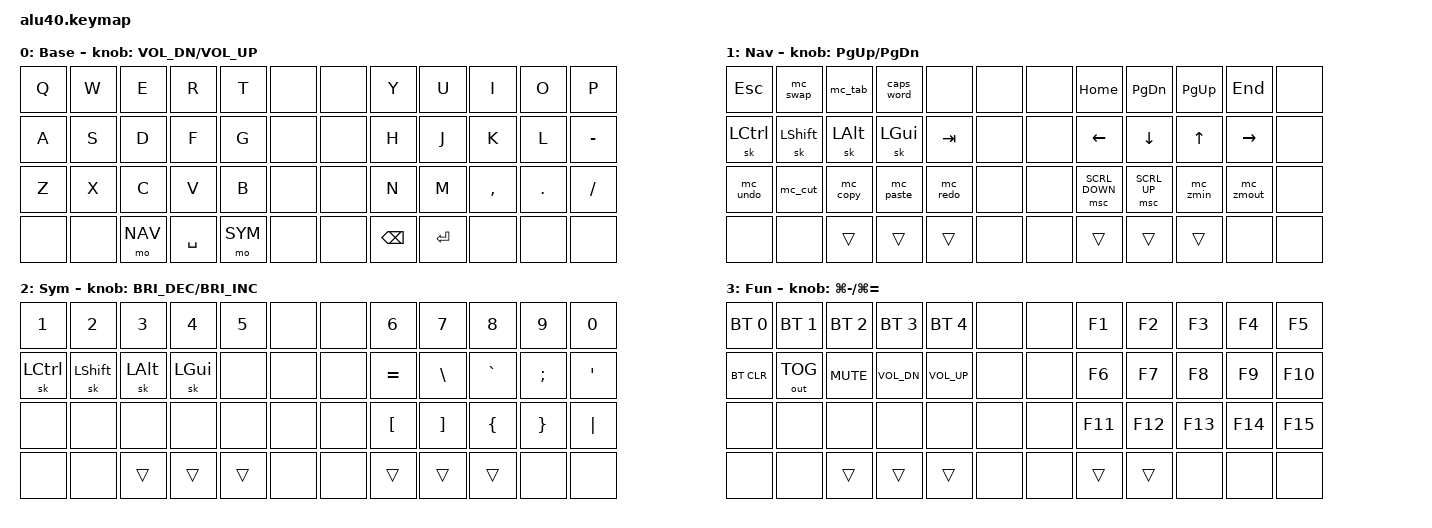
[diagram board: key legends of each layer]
/*
 * ALU40 v2 (4x12 ortho, 48keys)
 *
 * 正本 = Keyboardio Atreus の custom キーマップ
 *   qmk_atreus/keyboards/keyboardio/atreus/keymaps/custom/keymap.c
 * hold-tap 完全排除、Callum式 One-Shot ベース。
 *
 * Atreus の LAYOUT は 4行（下2行が12キー）なので、上2行に中央2キーを
 * 足すだけで 4x12 に一対一で載る。配置は一切変えていない。
 *
 *   row0/row1: 左5 | 中央2(&none) | 右5
 *   row2/row3: Atreus の 12キーをそのまま
 *
 * 右親指3つ目の TAB は **2026-11-15 に全機で廃止**（TAB は NAV 層で入力）。
 * NightGlide のマウス操作（NAV 右端列）は不採用。
 *
 * ALU40 固有（Atreus に無いもの）は FUN レイヤーの「Atreus で空き」の
 * 位置だけに追加した: Bluetooth・エンコーダ。
 * **RGB系キーは 2026-11-15 に全機で廃止**（基本使わないため。左手下段は拡張枠）。
 * ZMK Studio は使わない方針のため &studio_unlock は置かない。
 */

#include <behaviors.dtsi>
#include <dt-bindings/zmk/bt.h>
#include <dt-bindings/zmk/keys.h>
#include <dt-bindings/zmk/outputs.h>
#include <dt-bindings/zmk/pointing.h>

#define BASE 0
#define NAV  1
#define SYM  2
#define FUN  3

/ {
    /*
     * Sticky key を Callum 式に寄せる。
     *  - release-after-ms を長めに（Callum 式はタイムアウト無し）
     *  - quick-release: 次キーの押下時点で解除
     *  - ignore-modifiers: 修飾同士を重ねられる（Ctrl+Shift 等）
     */
    behaviors {
        sk: sticky_key {
            compatible = "zmk,behavior-sticky-key";
            #binding-cells = <1>;
            bindings = <&kp>;
            release-after-ms = <2000>;
            quick-release;
            ignore-modifiers;
        };
    };

    macros {
        // Swapper（Cmd+Tab: キーを離すまでCmdを保持）
        mc_swap: mc_swap {
            compatible = "zmk,behavior-macro";
            #binding-cells = <0>;
            wait-ms = <30>;
            tap-ms = <30>;
            bindings = <&macro_press &kp LGUI>, <&macro_tap &kp TAB>, <&macro_pause_for_release>, <&macro_release &kp LGUI>;
        };
        // Tabber（Ctrl+Tab: キーを離すまでCtrlを保持）
        mc_tab: mc_tab {
            compatible = "zmk,behavior-macro";
            #binding-cells = <0>;
            wait-ms = <30>;
            tap-ms = <30>;
            bindings = <&macro_press &kp LCTRL>, <&macro_tap &kp TAB>, <&macro_pause_for_release>, <&macro_release &kp LCTRL>;
        };
        // Undo (Cmd+Z)
        mc_undo: mc_undo {
            compatible = "zmk,behavior-macro";
            #binding-cells = <0>;
            wait-ms = <30>;
            tap-ms = <30>;
            bindings = <&macro_press &kp LGUI>, <&macro_tap &kp Z>, <&macro_release &kp LGUI>;
        };
        // Cut (Cmd+X)
        mc_cut: mc_cut {
            compatible = "zmk,behavior-macro";
            #binding-cells = <0>;
            wait-ms = <30>;
            tap-ms = <30>;
            bindings = <&macro_press &kp LGUI>, <&macro_tap &kp X>, <&macro_release &kp LGUI>;
        };
        // Copy (Cmd+C)
        mc_copy: mc_copy {
            compatible = "zmk,behavior-macro";
            #binding-cells = <0>;
            wait-ms = <30>;
            tap-ms = <30>;
            bindings = <&macro_press &kp LGUI>, <&macro_tap &kp C>, <&macro_release &kp LGUI>;
        };
        // Paste (Cmd+V)
        mc_paste: mc_paste {
            compatible = "zmk,behavior-macro";
            #binding-cells = <0>;
            wait-ms = <30>;
            tap-ms = <30>;
            bindings = <&macro_press &kp LGUI>, <&macro_tap &kp V>, <&macro_release &kp LGUI>;
        };
        // Redo (Cmd+Shift+Z)
        mc_redo: mc_redo {
            compatible = "zmk,behavior-macro";
            #binding-cells = <0>;
            wait-ms = <30>;
            tap-ms = <30>;
            bindings = <&macro_press &kp LGUI>, <&macro_press &kp LSHFT>, <&macro_tap &kp Z>, <&macro_release &kp LSHFT>, <&macro_release &kp LGUI>;
        };
        // Zoom In (Cmd+=)
        mc_zmin: mc_zmin {
            compatible = "zmk,behavior-macro";
            #binding-cells = <0>;
            wait-ms = <30>;
            tap-ms = <30>;
            bindings = <&macro_press &kp LGUI>, <&macro_tap &kp EQUAL>, <&macro_release &kp LGUI>;
        };
        // Zoom Out (Cmd+-)
        mc_zmout: mc_zmout {
            compatible = "zmk,behavior-macro";
            #binding-cells = <0>;
            wait-ms = <30>;
            tap-ms = <30>;
            bindings = <&macro_press &kp LGUI>, <&macro_tap &kp MINUS>, <&macro_release &kp LGUI>;
        };
    };

    // --- Combos ---
    // キー位置（4x12 = 0..47）
    //   row0:  0  1  2  3  4 |  5  6 |  7  8  9 10 11
    //   row1: 12 13 14 15 16 | 17 18 | 19 20 21 22 23
    //   row2: 24 25 26 27 28 | 29 30 | 31 32 33 34 35
    //   row3: 36 37 38 39 40 | 41 42 | 43 44 45 46 47
    //   親指: NAV=38 SPC=39 SYM=40 | BSPC=43 ENT=44
    combos {
        compatible = "zmk,combos";


        // J + K → Caps Word（2026-11-12 緒方さん指示でコンボ化）
        // 旧: NAV層のキーに置いていた / 旧 D+F の tmux prefix コンボは廃止（「pdf」で誤発火）
        combo_caps_word {
            timeout-ms = <80>;
            require-prior-idle-ms = <150>;
            key-positions = <20 21>;
            bindings = <&caps_word>;
            layers = <BASE>;
        };

        // SPC(39) + BSPC(43) → LNG1 (IME ON)
        combo_lng1 {
            timeout-ms = <80>;
            require-prior-idle-ms = <150>;
            key-positions = <39 43>;
            bindings = <&kp LANGUAGE_1>;
            layers = <BASE>;
        };

        // BSPC(43) + ENT(44) → LNG2 (IME OFF)
        combo_lng2 {
            timeout-ms = <80>;
            require-prior-idle-ms = <150>;
            key-positions = <43 44>;
            bindings = <&kp LANGUAGE_2>;
            layers = <BASE>;
        };


        // --- ブートローダー / リセット（底面リセットボタンの代替・艦隊共通設計） ---
        // 「上段最外列 ＋ 文字下段(row2)の最内列」は共通で、**親指だけずらして**切替。
        //   親指内側          → &bootloader（焼き用・リセット2回押し相当）
        // ⚠️ 親指の物理配置（2026-11-12 緒方さん確認。キーマップの並び順と内外が逆）:
        //     左手 [NAV][SPC][SYM] │ 中央 │ [BSPC][ENT] 右手
        //           外側 →→→ 内側          内側 ←←← 外側
        //   ＝ **内側(中央寄り)は 左=SYM / 右=BSPC**。NAV は左の一番外側。
        //   親指内側から2番目 → &sys_reset （再起動・1回押し相当）
        // ★本機は**一体型(単一MCU)なので左側だけ**で足りる（分割機は片側USB接続で焼く
        //   ため左右それぞれに必要だが、一体型はその制約がない）。
        // ★FUN層にも &bootloader があるが、こちらはレイヤー不要で押せる。
        // ★layers 未指定＝全レイヤーで有効。3キーなので timeout は緩める。

        // bootloader — 上段最外(0) + row2最内(28) + SYM(40=親指内側＝中央寄り)
        combo_boot {
            timeout-ms = <100>;
            require-prior-idle-ms = <250>;
            key-positions = <0 28 40>;
            bindings = <&bootloader>;
        };

        // sys_reset — 上段最外(0) + row2最内(28) + SPC(39=内側から2番目)
        combo_reset {
            timeout-ms = <100>;
            require-prior-idle-ms = <250>;
            key-positions = <0 28 39>;
            bindings = <&sys_reset>;
        };
    };

    // --- Tri-Layer (NAV + SYM = FUN) ---
    conditional_layers {
        compatible = "zmk,conditional-layers";
        tri_layer {
            if-layers = <NAV SYM>;
            then-layer = <FUN>;
        };
    };

    keymap {
        compatible = "zmk,keymap";

        // Base — Atreus [_BASE]（右親指3つ目のTABは廃止・TABはNAV層）
        //   Q    W    E    R    T  │  Y    U    I    O    P
        //   A    S    D    F    G  │  H    J    K    L    -
        //   Z    X    C    V    B  │  N    M    ,    .    /
        //             NAV  SPC  SYM│ BSPC ENT  ・
        BASE_layer {
            display-name = "Base";
            bindings = <
&kp Q  &kp W  &kp E    &kp R    &kp T    &none  &none  &kp Y     &kp U    &kp I      &kp O    &kp P
&kp A  &kp S  &kp D    &kp F    &kp G    &none  &none  &kp H     &kp J    &kp K      &kp L    &kp MINUS
&kp Z  &kp X  &kp C    &kp V    &kp B    &none  &none  &kp N     &kp M    &kp COMMA  &kp DOT  &kp FSLH
&none  &none  &mo NAV  &kp SPC  &mo SYM  &none  &none  &kp BSPC  &kp RET  &none      &none    &none
            >;
            sensor-bindings = <&inc_dec_kp C_VOL_DN C_VOL_UP>;  // ノブ: 音量
        };

        // NAV（左内側親指）— Atreus [_NAV] と同一
        //   ESC  SWAP STAB CW   ---│ HOME PGDN PGUP END  ---
        //   skCTL skSFT skALT skGUI TAB│ LEFT DOWN UP  RGHT ---
        //   UNDO CUT  COPY PST  REDO│ ホイール↓ ホイール↑ ZMIN ZMOUT ---
        //   ※ホイールは NightGlide 由来（クリック3種は不採用＝ポインティング機が無いため）
        NAV_layer {
            display-name = "Nav";
            bindings = <
&kp ESC    &mc_swap   &mc_tab   &caps_word  &none     &none  &none  &kp HOME  &kp PG_DN  &kp PG_UP  &kp END    &none
&sk LCTRL  &sk LSHFT  &sk LALT  &sk LGUI    &kp TAB   &none  &none  &kp LEFT  &kp DOWN   &kp UP     &kp RIGHT  &none
&mc_undo   &mc_cut    &mc_copy  &mc_paste   &mc_redo  &none  &none  &msc SCRL_DOWN  &msc SCRL_UP  &mc_zmin   &mc_zmout  &none
&none      &none      &trans    &trans      &trans    &none  &none  &trans    &trans     &trans     &none      &none
            >;
            sensor-bindings = <&inc_dec_kp PG_UP PG_DN>;  // ノブ: ページ送り
        };

        // SYM（左外側親指）— Atreus [_SYM] と同一
        //   1    2    3    4    5  │  6    7    8    9    0
        //   skCTL skSFT skALT skGUI ---│ =    \    `    ;    '
        //   ---  ---  ---  ---  --- │  [    ]    {    }    |
        SYM_layer {
            display-name = "Sym";
            bindings = <
&kp N1     &kp N2     &kp N3    &kp N4    &kp N5  &none  &none  &kp N6     &kp N7    &kp N8     &kp N9    &kp N0
&sk LCTRL  &sk LSHFT  &sk LALT  &sk LGUI  &none   &none  &none  &kp EQUAL  &kp BSLH  &kp GRAVE  &kp SEMI  &kp SQT
&none      &none      &none     &none     &none   &none  &none  &kp LBKT   &kp RBKT  &kp LBRC   &kp RBRC  &kp PIPE
&none      &none      &trans    &trans    &trans  &none  &none  &trans     &trans    &trans     &none     &none
            >;
            sensor-bindings = <&inc_dec_kp C_BRI_DEC C_BRI_INC>;  // ノブ: 画面輝度
        };

        // FUN (NAV+SYM 同時) — **艦隊共通配置**（正本=Atreus に準拠・2026-11-15 統一）
        //   左 = 機器設定＋ボリューム / 右 = F1..F15
        //   BT0  BT1    BT2  BT3   BT4  │ F1  F2  F3  F4  F5
        //   CLR  USB⇄BT MUTE VOL-  VOL+ │ F6  F7  F8  F9  F10
        //   ・   ・     ・   ・     ・   │ F11 F12 F13 F14 F15
        //   BT接続先（2026-11-15 統一・**左から数えた番号**。ZMKの BT_SEL は0始まりなので注意）
        //     1番目=BT_SEL 0 → iPad mini
        //     2番目=BT_SEL 1 → iPad Pro
        //     3番目=BT_SEL 2 → iPhone
        //     4番目=BT_SEL 3 → Daylight DC-1
        //     5番目=BT_SEL 4 → Mac mini
        //   ★ペアリング実体は各キーボードが個別に保持する。番号を揃えるには
        //     各プロファイルを選んで CLR で1つずつ消去 → 1番目を選んで iPad mini とペアリング → 2番目… と
        //     **手作業で順に入れ直す**必要がある（ファームでは自動化できない）。
        //   ★RGB系5キーは**削除**（基本使わないため全機で廃止・左下段は拡張枠）
        //   ★bootloader も削除（コンボ Q+B+親指内側 で叩けるため）
        FUN_layer {
            display-name = "Fun";
            bindings = <
&bt BT_SEL 0  &bt BT_SEL 1   &bt BT_SEL 2  &bt BT_SEL 3  &bt BT_SEL 4   &none  &none  &kp F1   &kp F2   &kp F3   &kp F4   &kp F5
&bt BT_CLR    &out OUT_TOG   &kp K_MUTE    &kp K_VOL_DN  &kp K_VOL_UP   &none  &none  &kp F6   &kp F7   &kp F8   &kp F9   &kp F10
&none          &none         &none         &none         &none          &none  &none  &kp F11  &kp F12  &kp F13  &kp F14  &kp F15
&none         &none          &trans        &trans        &trans         &none  &none  &trans   &trans   &none    &none    &none
            >;
            sensor-bindings = <&inc_dec_kp LG(MINUS) LG(EQUAL)>;  // ノブ: ズーム
        };
    };
};
